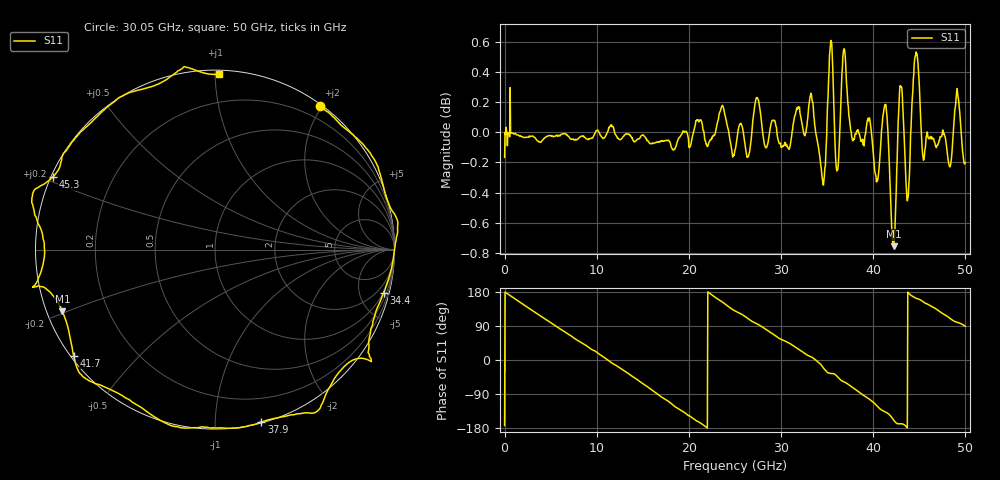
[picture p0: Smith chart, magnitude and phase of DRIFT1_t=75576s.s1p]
!Created with skrf (http://scikit-rf.org).
# Hz S RI R 50.0
!freq ReS11 ImS11
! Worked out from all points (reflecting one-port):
!   1001 points, 300 kHz to 50 GHz, reference 50 ohm
!   lowest |S11| = -0.8 dB at 42.2 GHz (marker M1), VSWR 23.01, Z = 2.25 - j9.7 ohm
!   phase of S11 starts at -173 deg and turns -818 deg over the sweep
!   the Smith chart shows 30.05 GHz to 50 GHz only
!   S11 on the Smith chart (normalised r, x): 30.05 GHz: 0.03, +1.97; 34.4 GHz: 0.98, -7.81; 37.9 GHz: 0.01, -1.30; 41.7 GHz: 0.01, -0.33; 45.3 GHz: 0.01, +0.21; 50 GHz: 0.02, +1.02
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300000  -0.9734 -0.1224
1.450291e9  -0.9126 0.404
3.25028e9  -0.5929 0.8004
6.250262e9  0.1988 0.9787
9.500243e9  0.8877 0.4513
1.250022e10  0.9301 -0.3519
1.580021e10  0.2419 -0.9614
1.73502e10  -0.2116 -0.9708
1.875019e10  -0.5991 -0.792
2.165017e10  -0.9916 -0.1209
2.345016e10  -0.9303 0.4121
2.500015e10  -0.6278 0.7613
2.745014e10  -0.0829 1.023
3.005012e10  0.5824 0.7993
3.125011e10  0.7809 0.6278
3.32001e10  1.016 0.1635
3.440009e10  0.9391 -0.2408
3.520009e10  0.8608 -0.5956
3.750008e10  0.3778 -0.9315
3.790007e10  0.2581 -0.961
3.960006e10  -0.2404 -0.9821
4.170005e10  -0.7873 -0.5906
4.220005e10  -0.8499 -0.3435
4.290004e10  -1.015 -0.2088
4.375004e10  -0.951 0.0117
4.530003e10  -0.9015 0.4059
4.765001e10  -0.5128 0.8566
5e10  0.0196 0.9769
